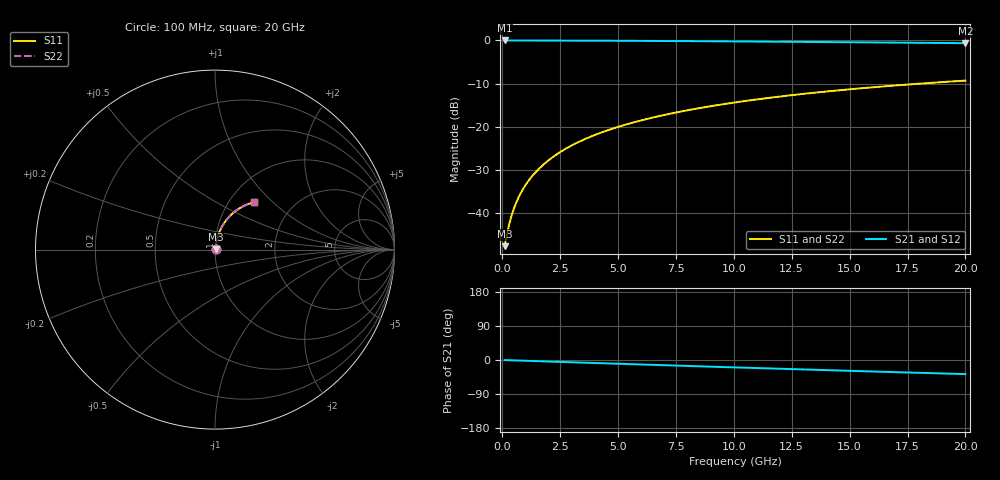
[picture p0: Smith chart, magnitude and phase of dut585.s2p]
! Touchstone file exported from HFSS 2026.1.0
!  File:  C:/ffzhzh/LocalFiles/Ansys_Project_Files/temp_train_TMRDL_585_1783008310_51716.aedt
!  Generated:  12:06:27 AM Jul  3, 2026
!  Design:  TMRDL
!  Project:  temp_train_TMRDL_585_1783008310_51716
! Variables:
!  h_bsmrdl = 2um
!  h_ox = 20um
!  h_rdl = 5um
!  h_sub = 80um
!  h_tmrdl = 4.15um
!  h_tsv = 80um
!  h_via = 3um
!  l_bsmrdl = 300um
!  l_sub = 955.93um
!  l_tmrdl = 555.93um
!  m_sub = 200um
!  pitch = 33.55um
!  r_tsv = 6um
!  s_tmrdl = 10um
!  w_bsmrdl = 18um
!  w_sub = 500um
!  w_tmrdl = 13.9um
!  x_tsv_center1 = 562.88um
!  x_tsv_center2 = 880.88um
!  x_tsv_center3 = 1450.71um
!  x_tsv_center4 = 1768.71um
!  x_tsv_center5 = 2338.54um
!  x_tsv_center6 = 2656.54um
# GHz S MA R 50.000000
! Terminal data exported
! Port[1] = TM_RDL1_1_T1
! Port[2] = TM_RDL1_1_T2
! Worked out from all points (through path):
!   200 points, 100 MHz to 20 GHz, reference 50 ohm
!   highest |S21| = -0.03 dB at 100 MHz (marker M1); lowest = -0.7 dB at 20 GHz (marker M2)
!   group delay of S21, straight-line fit = 5.17 ps
!   lowest |S11| = -47.7 dB at 100 MHz (marker M3), VSWR 1.01, Z = 50.4 + j0.22 ohm
!   |S11| at or under -10 dB: start of sweep to 18.11 GHz
!   |S22| runs from -47.7 to -9.3 dB; largest |S21 - S12| = 3.1e-15
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0.1  0.004139 31.9  0.9965 -0.2  0.9965 -0.2  0.004139 31.9
! Gamma 0 0 0 0
! Port Impedance 50 0 50 0
0.2  0.005653 50.0  0.9964 -0.4  0.9964 -0.4  0.005653 50.0
0.3  0.007457 59.5  0.9963 -0.6  0.9963 -0.6  0.007457 59.5
0.4  0.009346 65.0  0.9961 -0.8  0.9961 -0.8  0.009346 65.0
0.5  0.01127 68.5  0.996 -1.0  0.996 -1.0  0.01127 68.5
0.6  0.0132 71.1  0.9959 -1.2  0.9959 -1.2  0.0132 71.1
0.8  0.0171 74.3  0.9957 -1.6  0.9957 -1.6  0.0171 74.3
1.1  0.02301 77.0  0.9955 -2.2  0.9955 -2.2  0.02301 77.0
1.3  0.02697 78.0  0.9953 -2.6  0.9953 -2.6  0.02697 78.0
1.6  0.03293 78.9  0.995 -3.2  0.995 -3.2  0.03293 78.9
2.1  0.04289 79.4  0.9944 -4.2  0.9944 -4.2  0.04289 79.4
2.7  0.05479 79.3  0.9935 -5.4  0.9935 -5.4  0.05479 79.3
3.5  0.07054 78.5  0.992 -7.0  0.992 -7.0  0.07054 78.5
4.2  0.08417 77.5  0.9904 -8.4  0.9904 -8.4  0.08417 77.5
5  0.09953 76.3  0.9885 -9.9  0.9885 -9.9  0.09953 76.3
5.9  0.1165 74.7  0.9859 -11.7  0.9859 -11.7  0.1165 74.7
6.8  0.1332 73.2  0.9832 -13.4  0.9832 -13.4  0.1332 73.2
8.3  0.1604 70.6  0.9782 -16.3  0.9782 -16.3  0.1604 70.6
10.1  0.1918 67.4  0.9715 -19.6  0.9715 -19.6  0.1918 67.4
13.4  0.2463 61.7  0.9579 -25.7  0.9579 -25.7  0.2463 61.7
16.7  0.2963 56.1  0.9427 -31.6  0.9427 -31.6  0.2963 56.1
20  0.3416 50.6  0.9268 -37.3  0.9268 -37.3  0.3416 50.6
